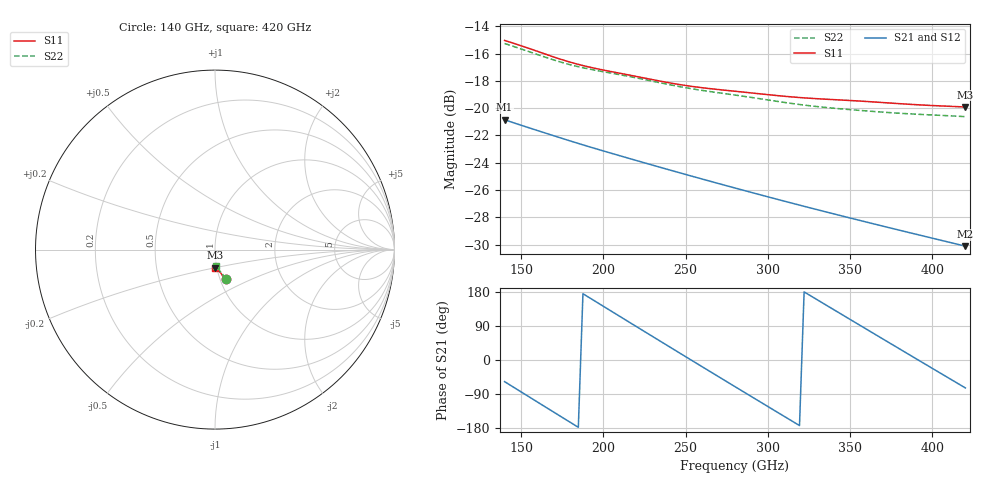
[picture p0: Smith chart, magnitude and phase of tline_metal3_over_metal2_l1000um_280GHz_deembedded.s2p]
! Created with skrf 2.2.0 (http://scikit-rf.org).
# GHz S DB R 50.0
! Port[1] = P1
! Port[2] = P2
!freq dBS11 angS11 dBS21 angS21 dBS12 angS12 dBS22 angS22
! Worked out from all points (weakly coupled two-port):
!   101 points, 140 GHz to 420 GHz, reference 50 ohm
!   highest |S21| = -20.85 dB at 140 GHz (marker M1); lowest = -30.1 dB at 420 GHz (marker M2)
!   lowest |S11| = -19.9 dB at 420 GHz (marker M3), VSWR 1.22, Z = 48.8 - j9.96 ohm
!   |S11| at or under -10 dB: start of sweep to end of sweep
!   |S22| runs from -20.6 to -15.3 dB; largest |S21 - S12| = 9.9e-14
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140  -15.04 -69.7  -20.85 -57.1  -20.85 -57.1  -15.26 -69.0
148.4  -15.36 -71.0  -21.19 -79.8  -21.19 -79.8  -15.60 -70.1
159.6  -15.82 -72.6  -21.63 -110.0  -21.63 -110.0  -16.06 -71.3
173.6  -16.40 -74.0  -22.17 -147.6  -22.17 -147.6  -16.61 -72.4
187.6  -16.88 -74.8  -22.69 174.9  -22.69 174.9  -17.04 -73.0
201.6  -17.25 -75.7  -23.19 137.5  -23.19 137.5  -17.37 -73.9
212.8  -17.51 -76.5  -23.58 107.6  -23.58 107.6  -17.61 -75.0
224  -17.77 -77.4  -23.97 77.8  -23.97 77.8  -17.88 -76.1
235.2  -18.04 -78.2  -24.36 48.0  -24.36 48.0  -18.16 -77.1
246.4  -18.27 -78.8  -24.74 18.3  -24.74 18.3  -18.43 -77.8
254.8  -18.42 -79.2  -25.02 -3.9  -25.02 -3.9  -18.60 -78.3
268.8  -18.62 -79.9  -25.48 -40.8  -25.48 -40.8  -18.86 -79.2
280  -18.76 -80.7  -25.85 -70.3  -25.85 -70.3  -19.04 -80.0
291.2  -18.90 -81.5  -26.22 -99.7  -26.22 -99.7  -19.24 -80.9
305.2  -19.08 -82.4  -26.66 -136.4  -26.66 -136.4  -19.50 -81.8
316.4  -19.20 -83.1  -27.02 -165.7  -27.02 -165.7  -19.69 -82.4
327.6  -19.29 -83.8  -27.37 165.1  -27.37 165.1  -19.86 -82.8
341.6  -19.39 -84.8  -27.80 128.7  -27.80 128.7  -20.02 -83.3
352.8  -19.46 -85.7  -28.14 99.7  -28.14 99.7  -20.14 -83.8
375.2  -19.64 -87.6  -28.80 41.7  -28.80 41.7  -20.34 -84.8
394.8  -19.78 -89.1  -29.38 -8.9  -29.38 -8.9  -20.47 -85.8
420  -19.92 -91.1  -30.11 -73.7  -30.11 -73.7  -20.62 -87.5
